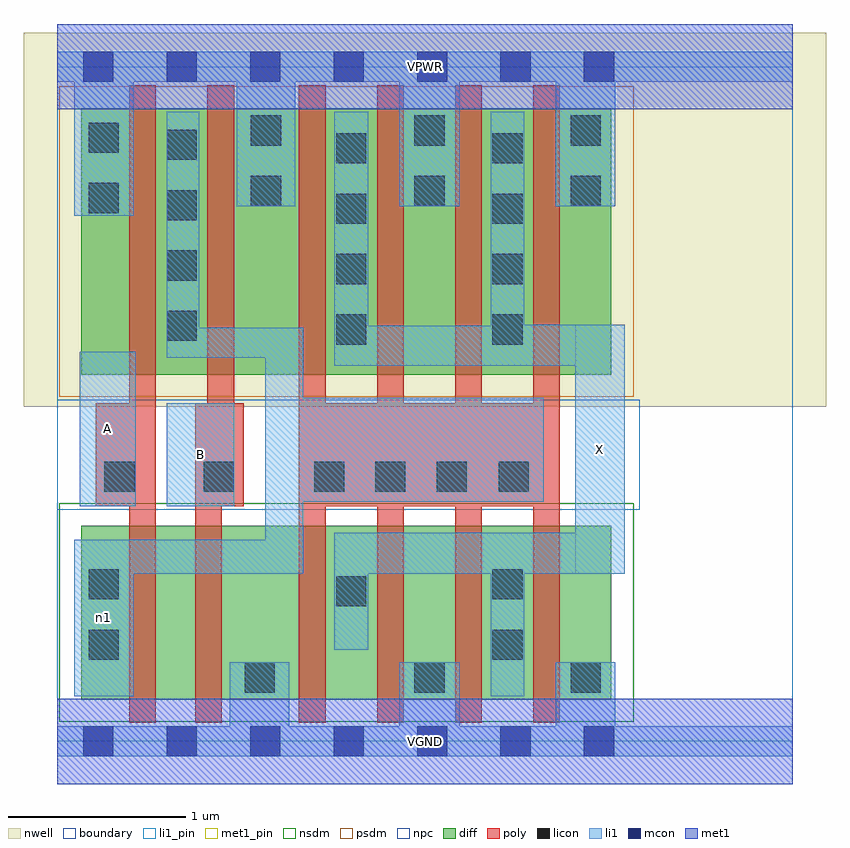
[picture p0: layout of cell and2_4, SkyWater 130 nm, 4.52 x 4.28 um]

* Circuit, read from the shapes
.subckt and2_4 A B VGND VPWR X n1
XM1 n2 A n1 VSUBS sky130_fd_pr__nfet_01v8 w=0.98 l=0.15
XM2 VGND B n2 VSUBS sky130_fd_pr__nfet_01v8 w=0.98 l=0.15
XM3 X n1 VGND VSUBS sky130_fd_pr__nfet_01v8 w=0.98 l=0.15 m=4
XM4 n1 A VPWR n3 sky130_fd_pr__pfet_01v8 w=1.5 l=0.15
XM5 VPWR B n1 n3 sky130_fd_pr__pfet_01v8 w=1.5 l=0.15
XM6 X n1 VPWR n3 sky130_fd_pr__pfet_01v8 w=1.5 l=0.15 m=4
.ends

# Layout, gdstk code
import gdstk
lib = gdstk.Library(unit=1e-6, precision=1e-09)
def R(c, l, rs):  # rectangles x0, y0, x1, y1
    for r in rs: c.add(gdstk.rectangle(r[:2], r[2:], *l))
def A(c, l, x, y, w, h, nx, ny, dx, dy):  # array of equal rectangles
    R(c, l, [(x+i*dx, y+j*dy, x+i*dx+w, y+j*dy+h) for i in range(nx) for j in range(ny)])
nwell = (64, 20)
diff = (65, 20)
poly = (66, 20)
licon = (66, 44)
li1_pin = (67, 16)
li1 = (67, 20)
mcon = (67, 44)
met1_pin = (68, 16)
met1 = (68, 20)
nsdm = (93, 44)
psdm = (94, 20)
npc = (95, 20)
boundary = (235, 4)

and2_4 = lib.new_cell('and2_4')
R(and2_4, nwell, [(-0.19,1.885,4.33,3.99), (0,1.885,4.14,3.99)])
R(and2_4, diff, [(0.135,0.235,3.12,1.215), (0.135,2.065,3.12,3.565)])
A(and2_4, poly, 1.36, 0.105, 0.15, 3.59, 4, 1, 0.44, 0)
R(and2_4, poly, [(0.405,0.105,0.555,3.695), (0.775,0.105,0.925,1.905), (0.215,1.325,0.555,1.905), (0.775,1.325,1.05,1.905), (0.845,1.325,0.995,3.695), (1.36,1.325,2.83,1.905)])
A(and2_4, licon, 1.445, 1.405, 0.17, 0.17, 3, 1, 0.345, 0)
A(and2_4, licon, 1.57, 2.235, 0.17, 0.17, 1, 4, 0, 0.34)
A(and2_4, licon, 2.45, 2.235, 0.17, 0.17, 1, 4, 0, 0.34)
A(and2_4, licon, 0.615, 2.255, 0.17, 0.17, 1, 4, 0, 0.34)
R(and2_4, licon, [(1.055,0.275,1.225,0.445), (2.01,0.275,2.18,0.445), (2.89,0.275,3.06,0.445), (0.175,0.46,0.345,0.63), (2.45,0.46,2.62,0.63), (1.57,0.76,1.74,0.93), (0.175,0.8,0.345,0.97), (2.45,0.8,2.62,0.97), (0.265,1.405,0.435,1.575), (0.825,1.405,0.995,1.575), (2.485,1.405,2.655,1.575), (0.175,2.975,0.345,3.145), (1.09,3.015,1.26,3.185), (2.01,3.015,2.18,3.185), (2.89,3.015,3.06,3.185), (0.175,3.315,0.345,3.485), (1.09,3.355,1.26,3.525), (2.01,3.355,2.18,3.525), (2.89,3.355,3.06,3.525)])
R(and2_4, li1_pin, [(2.915,0.945,3.195,2.345), (0.125,1.325,0.44,2.195), (0.615,1.325,0.995,1.905)])
R(and2_4, li1, [(0,-0.085,4.14,0.085), (0.97,-0.085,1.305,0.445), (1.925,-0.085,2.265,0.445), (2.805,-0.085,3.14,0.445), (0.095,0.255,0.43,1.135), (2.44,0.255,2.63,1.175), (1.56,0.515,1.75,1.175), (0.095,0.945,1.385,1.135), (1.17,0.945,1.385,2.33), (1.56,0.945,3.195,1.175), (2.915,0.945,3.195,2.345), (0.125,1.325,0.44,2.195), (0.615,1.325,0.995,1.905), (1.17,1.35,2.74,1.935), (1.56,2.115,3.195,2.34), (1.56,2.115,1.75,3.545), (2.44,2.115,2.63,3.545), (2.44,2.115,3.195,2.345), (0.615,2.16,0.8,3.545), (0.615,2.16,1.385,2.33), (0.095,2.96,0.43,3.885), (1.01,3.015,1.34,3.885), (1.925,3.015,2.265,3.885), (2.805,3.015,3.14,3.885), (0,3.715,4.14,3.885)])
A(and2_4, mcon, 0.145, -0.085, 0.17, 0.17, 7, 2, 0.47, 3.8)
R(and2_4, met1_pin, [(0,-0.24,4.14,0.24), (0,3.56,4.14,4.04)])
R(and2_4, met1, [(0,-0.24,4.14,0.24), (0,3.56,4.14,4.04)])
R(and2_4, nsdm, [(0.01,0.11,3.245,1.34)])
R(and2_4, psdm, [(0.01,1.94,3.245,3.69)])
R(and2_4, npc, [(0,1.305,3.28,1.925)])
R(and2_4, boundary, [(0,0,4.14,3.8)])
and2_4.add(gdstk.Label('A', (0.282,1.76), layer=67, texttype=5))
and2_4.add(gdstk.Label('B', (0.805,1.615), layer=67, texttype=5))
and2_4.add(gdstk.Label('X', (3.055,1.645), layer=67, texttype=5))
and2_4.add(gdstk.Label('n1', (0.262,0.695), layer=67, texttype=5))
and2_4.add(gdstk.Label('VPWR', (2.07,3.8), layer=68, texttype=5))
and2_4.add(gdstk.Label('VGND', (2.07,0), layer=68, texttype=5))
and2_4.add(gdstk.Label('A', (0.282,1.76), layer=67, texttype=16))
and2_4.add(gdstk.Label('B', (0.805,1.615), layer=67, texttype=16))
and2_4.add(gdstk.Label('X', (3.055,1.645), layer=67, texttype=16))
and2_4.add(gdstk.Label('VPWR', (2.07,3.8), layer=68, texttype=16))
and2_4.add(gdstk.Label('VGND', (2.07,0), layer=68, texttype=16))

lib.write_gds('and2_4.gds')
